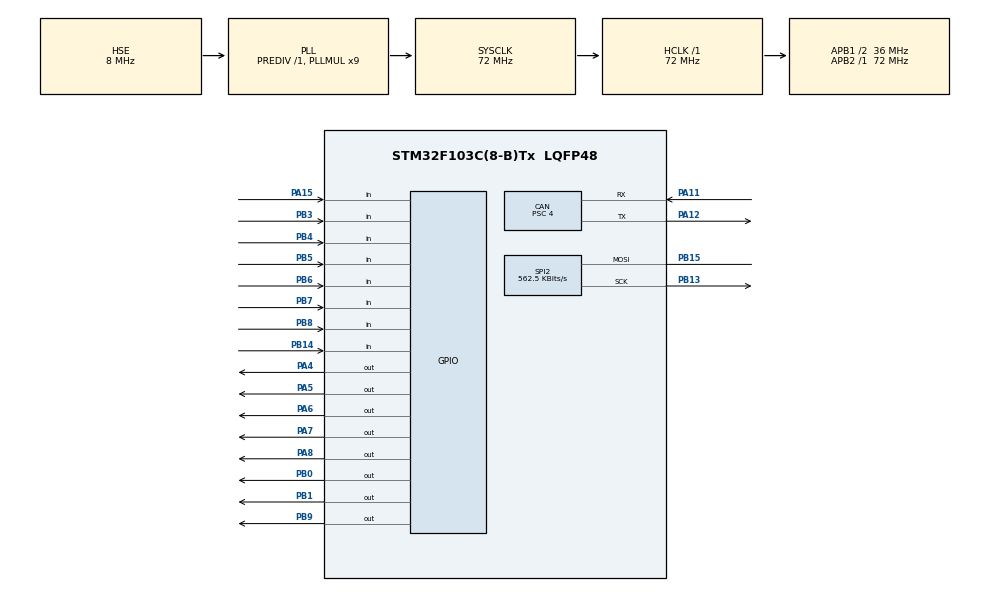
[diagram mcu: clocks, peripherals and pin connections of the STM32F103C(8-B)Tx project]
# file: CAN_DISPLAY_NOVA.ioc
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CAN.ABOM=ENABLE
CAN.AWUM=ENABLE
CAN.BS1=CAN_BS1_4TQ
CAN.BS2=CAN_BS2_4TQ
CAN.CalculateBaudRate=1000000
CAN.CalculateTimeBit=1000
CAN.CalculateTimeQuantum=111.11111111111111
CAN.NART=ENABLE
CAN.Prescaler=4
FREERTOS.Tasks01=defaultTask,24,128,StartDefaultTask,Default,NULL,Dynamic,NULL,NULL
FREERTOS.configCHECK_FOR_STACK_OVERFLOW=2
FREERTOS.configTOTAL_HEAP_SIZE=12000
FREERTOS.configUSE_DAEMON_TASK_STARTUP_HOOK=0
FREERTOS.configUSE_MALLOC_FAILED_HOOK=1
FREERTOS.configUSE_OS2_TIMER=0
Mcu.Family=STM32F1
Mcu.Name=STM32F103C(8-B)Tx
Mcu.Package=LQFP48
NVIC.PriorityGroup=NVIC_PRIORITYGROUP_4
NVIC.TIM4_IRQn=true\:15\:0\:false\:false\:true\:false\:false\:true\:true
NVIC.TimeBase=TIM4_IRQn
NVIC.TimeBaseIP=TIM4
NVIC.USB_LP_CAN1_RX0_IRQn=true\:5\:0\:false\:false\:true\:true\:true\:true\:true
PA11.Mode=CAN_Activate
PA11.Signal=CAN_RX
PA12.Mode=CAN_Activate
PA12.Signal=CAN_TX
PA13.Mode=Serial_Wire
PA13.Signal=SYS_JTMS-SWDIO
PA14.Mode=Serial_Wire
PA14.Signal=SYS_JTCK-SWCLK
PA15.GPIO_PuPd=GPIO_PULLUP
PA15.Signal=GPIO_Input
PA4.GPIO_PuPd=GPIO_PULLUP
PA4.Signal=GPIO_Output
PA5.PinState=GPIO_PIN_SET
PA5.Signal=GPIO_Output
PA6.PinState=GPIO_PIN_SET
PA6.Signal=GPIO_Output
PA7.PinState=GPIO_PIN_SET
PA7.Signal=GPIO_Output
PA8.GPIO_PuPd=GPIO_PULLUP
PA8.PinState=GPIO_PIN_SET
PA8.Signal=GPIO_Output
PB0.PinState=GPIO_PIN_SET
PB0.Signal=GPIO_Output
PB1.PinState=GPIO_PIN_SET
PB1.Signal=GPIO_Output
PB13.Mode=Simplex_Bidirectional_Master
PB13.Signal=SPI2_SCK
PB14.GPIO_PuPd=GPIO_PULLUP
PB14.Signal=GPIO_Input
PB15.Mode=Simplex_Bidirectional_Master
PB15.Signal=SPI2_MOSI
PB3.GPIO_PuPd=GPIO_PULLUP
PB3.Signal=GPIO_Input
PB4.GPIO_PuPd=GPIO_PULLUP
PB4.Signal=GPIO_Input
PB5.GPIO_PuPd=GPIO_PULLUP
PB5.Signal=GPIO_Input
PB6.GPIO_PuPd=GPIO_PULLUP
PB6.Signal=GPIO_Input
PB7.GPIO_PuPd=GPIO_PULLUP
PB7.Signal=GPIO_Input
PB8.GPIO_PuPd=GPIO_PULLUP
PB8.Signal=GPIO_Input
PB9.GPIO_PuPd=GPIO_PULLUP
PB9.Signal=GPIO_Output
PD0-OSC_IN.Mode=HSE-External-Oscillator
PD0-OSC_IN.Signal=RCC_OSC_IN
PD1-OSC_OUT.Mode=HSE-External-Oscillator
PD1-OSC_OUT.Signal=RCC_OSC_OUT
ProjectManager.HeapSize=0x200
ProjectManager.StackSize=0x400
ProjectManager.TargetToolchain=MDK-ARM V5.32
RCC.AHBFreq_Value=72000000
RCC.APB1CLKDivider=RCC_HCLK_DIV2
RCC.APB1Freq_Value=36000000
RCC.APB1TimFreq_Value=72000000
RCC.APB2Freq_Value=72000000
RCC.APB2TimFreq_Value=72000000
RCC.HCLKFreq_Value=72000000
RCC.PLLMUL=RCC_PLL_MUL9
RCC.PLLSourceVirtual=RCC_PLLSOURCE_HSE
RCC.SYSCLKFreq_VALUE=72000000
RCC.SYSCLKSource=RCC_SYSCLKSOURCE_PLLCLK
RCC.USBFreq_Value=72000000
SPI2.BaudRatePrescaler=SPI_BAUDRATEPRESCALER_64
SPI2.CalculateBaudRate=562.5 KBits/s
SPI2.Direction=SPI_DIRECTION_1LINE
SPI2.Mode=SPI_MODE_MASTER
SPI2.VirtualType=VM_MASTER
VP_FREERTOS_VS_CMSIS_V2.Mode=CMSIS_V2
VP_SYS_VS_tim4.Mode=TIM4
board=custom

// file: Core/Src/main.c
/* USER CODE BEGIN Header */
/**
  ******************************************************************************
  * @file           : main.c
  * @brief          : Main program body
  ******************************************************************************
  * @attention
  *
  * Copyright (c) 2026 STMicroelectronics.
  * All rights reserved.
  *
  * This software is licensed under terms that can be found in the LICENSE file
  * in the root directory of this software component.
  * If no LICENSE file comes with this software, it is provided AS-IS.
  *
  ******************************************************************************
  */
/* USER CODE END Header */
#include "main.h"
#include "cmsis_os.h"
#include "can.h"
#include "spi.h"
#include "gpio.h"

/* USER CODE BEGIN Includes */
#include "system_fault.h"
/* USER CODE END Includes */

void SystemClock_Config(void);
void MX_FREERTOS_Init(void);

int main(void)
{

  /* MCU Configuration--------------------------------------------------------*/

  /* Reset of all peripherals, Initializes the Flash interface and the Systick. */
  HAL_Init();

  /* Configure the system clock */
  SystemClock_Config();

  /* Initialize all configured peripherals */
  MX_GPIO_Init();
  MX_CAN_Init();
  MX_SPI2_Init();

  /* Init scheduler */
  osKernelInitialize();  /* Call init function for freertos objects (in cmsis_os2.c) */
  MX_FREERTOS_Init();

  /* Start scheduler */
  osKernelStart();

  /* We should never get here as control is now taken by the scheduler */

  /* Infinite loop */
  while (1)
  {

  }
}

void SystemClock_Config(void)
{
  RCC_OscInitTypeDef RCC_OscInitStruct = {0};
  RCC_ClkInitTypeDef RCC_ClkInitStruct = {0};

  /** Initializes the RCC Oscillators according to the specified parameters
  * in the RCC_OscInitTypeDef structure.
  */
  RCC_OscInitStruct.OscillatorType = RCC_OSCILLATORTYPE_HSE;
  RCC_OscInitStruct.HSEState = RCC_HSE_ON;
  RCC_OscInitStruct.HSEPredivValue = RCC_HSE_PREDIV_DIV1;
  RCC_OscInitStruct.HSIState = RCC_HSI_ON;
  RCC_OscInitStruct.PLL.PLLState = RCC_PLL_ON;
  RCC_OscInitStruct.PLL.PLLSource = RCC_PLLSOURCE_HSE;
  RCC_OscInitStruct.PLL.PLLMUL = RCC_PLL_MUL9;
  if (HAL_RCC_OscConfig(&RCC_OscInitStruct) != HAL_OK)
  {
    Error_Handler();
  }

  /** Initializes the CPU, AHB and APB buses clocks
  */
  RCC_ClkInitStruct.ClockType = RCC_CLOCKTYPE_HCLK|RCC_CLOCKTYPE_SYSCLK
                              |RCC_CLOCKTYPE_PCLK1|RCC_CLOCKTYPE_PCLK2;
  RCC_ClkInitStruct.SYSCLKSource = RCC_SYSCLKSOURCE_PLLCLK;
  RCC_ClkInitStruct.AHBCLKDivider = RCC_SYSCLK_DIV1;
  RCC_ClkInitStruct.APB1CLKDivider = RCC_HCLK_DIV2;
  RCC_ClkInitStruct.APB2CLKDivider = RCC_HCLK_DIV1;

  if (HAL_RCC_ClockConfig(&RCC_ClkInitStruct, FLASH_LATENCY_2) != HAL_OK)
  {
    Error_Handler();
  }
}

void HAL_TIM_PeriodElapsedCallback(TIM_HandleTypeDef *htim)
{
  if (htim->Instance == TIM4)
  {
    HAL_IncTick();
  }
}

void Error_Handler(void)
{
  /* USER CODE BEGIN Error_Handler_Debug */
  system_fault_handle();
  /* USER CODE END Error_Handler_Debug */
}

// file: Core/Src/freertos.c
/* USER CODE BEGIN Header */
/**
  ******************************************************************************
  * File Name          : freertos.c
  * Description        : Code for freertos applications
  ******************************************************************************
  * @attention
  *
  * Copyright (c) 2026 STMicroelectronics.
  * All rights reserved.
  *
  * This software is licensed under terms that can be found in the LICENSE file
  * in the root directory of this software component.
  * If no LICENSE file comes with this software, it is provided AS-IS.
  *
  ******************************************************************************
  */
/* USER CODE END Header */

#include "FreeRTOS.h"
#include "task.h"
#include "main.h"
#include "cmsis_os.h"

/* USER CODE BEGIN Includes */
#include "bootloader_ota.h"
#include "can.h"
#include "can_app.h"
#include "communication.h"
#include "monitor_app.h"
#include "sensor_registry.h"
#include "settings_store.h"

/* USER CODE END Includes */

/* USER CODE BEGIN Variables */
static const can_app_config_t can_transport_configuration = {
    .handle = &hcan,
    .receive_fifo = CAN_RX_FIFO0,
    .filter_bank = 0U,
};

/* USER CODE END Variables */
/* Definitions for defaultTask */
osThreadId_t defaultTaskHandle;
const osThreadAttr_t defaultTask_attributes = {
  .name = "defaultTask",
  .stack_size = 192 * 4,
  .priority = (osPriority_t) osPriorityLow,
};

/* USER CODE BEGIN FunctionPrototypes */
static bool product_system_frame_handler(
    communication_physical_address_t receive_address, const uint8_t *payload,
    size_t payload_size, void *context);

/* USER CODE END FunctionPrototypes */

void StartDefaultTask(void *argument);

void MX_FREERTOS_Init(void); /* (MISRA C 2004 rule 8.1) */

void MX_FREERTOS_Init(void) {

  /* Create the thread(s) */
  /* creation of defaultTask */
  defaultTaskHandle = osThreadNew(StartDefaultTask, NULL, &defaultTask_attributes);

}

void StartDefaultTask(void *argument)
{
  /* USER CODE BEGIN StartDefaultTask */
  const communication_transport_driver_t *transport =
      can_app_driver(&can_transport_configuration);
  const communication_config_t communication_configuration = {
      .transport = transport,
      .sensors = product_sensor_table,
      .sensor_count = product_sensor_count,
      .system_frame_handler = product_system_frame_handler,
      .system_frame_handler_context = NULL,
  };

  (void)argument;
  if (settings_store_init() != SETTINGS_STORE_STATUS_OK) {
    Error_Handler();
  }
  if ((transport == NULL) ||
      (communication_init(&communication_configuration) !=
       COMMUNICATION_STATUS_OK)) {
    Error_Handler();
  }
  if (monitor_app_init(PRODUCT_PRIMARY_SENSOR_ID) != pdPASS) {
    Error_Handler();
  }

  /*
   * 默认任务只负责系统初始化。初始化成功后释放自己的任务控制块和栈，
   * 后续功能全部由各业务任务运行。
   */
  defaultTaskHandle = NULL;
  vTaskDelete(NULL);
  /* USER CODE END StartDefaultTask */
}

/* USER CODE BEGIN Application */
static bool product_system_frame_handler(
    communication_physical_address_t receive_address, const uint8_t *payload,
    size_t payload_size, void *context) {
  (void)receive_address;
  (void)context;

  if (!bootloader_ota_is_request_frame(payload, payload_size)) {
    return false;
  }
  return monitor_app_request_bootloader() == pdPASS;
}

/* USER CODE END Application */
